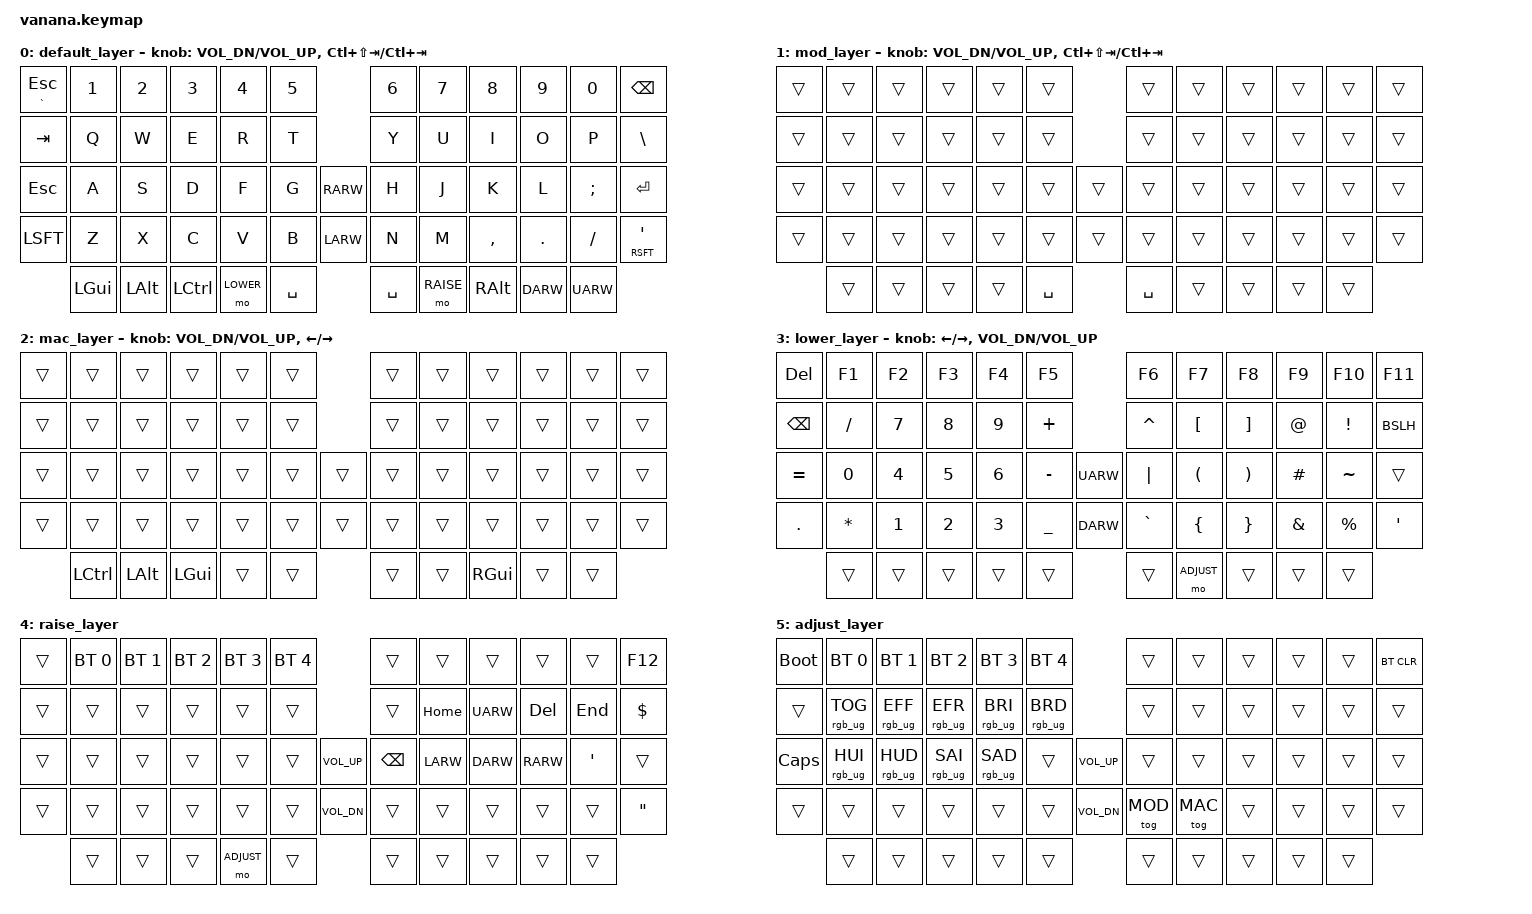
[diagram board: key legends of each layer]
/*
 * Copyright (c) 2020 dELLIKEEb
 *
 * SPDX-License-Identifier: MIT
 */

#include <behaviors.dtsi>
#include <dt-bindings/zmk/keys.h>
#include <dt-bindings/zmk/bt.h>
#include <dt-bindings/zmk/rgb.h>

// custom keycode defs for easier access
#define DEFAULT 0
#define MOD     1
#define MAC     2
#define LOWER   3
#define RAISE   4
#define ADJUST  5



// / {
//     behaviors {
//         hm: homerow_mods {
//             compatible = "zmk,behavior-hold-tap";
//             label = "homerow mods";
//             #binding-cells = <2>;
//             tapping_term_ms = <225>;
//             flavor = "tap-preferred";
//             bindings = <&kp>, <&kp>;
//         };
//     };
// };

// BASE
// -------------------------------------------               -------------------------------------------
// |   `  |   1  |   2  |   3  |   4  |   5  |               |   6  |   7  |   8  |   9  |   0  | Bksp |
// -------------------------------------------               -------------------------------------------
// | Tab  |   Q  |   W  |   E  |   R  |   T  |               |   Y  |   U  |   I  |   O  |   P  | Del  |
// -------------------------------------------   ---------  --------------------------------------------
// | Esc  |   A  |   S  |   D  |   F  |   G  |   | Right |   |   H  |   J  |   K  |   L  |   ;  |Enter |
// -------------------------------------------   ---------   -------------------------------------------
// | Shift|   Z  |   X  |   C  |   V  |   B  |   | LEFT  |   |   N  |   M  |   ,  |   .  |   /  | "    |
// -------------------------------------------   ---------   -------------------------------------------
//        | Ctrl | GUI  |  Alt |Lower |Space |               |Space |Raise |Alt   | DOWN | UP   |
//        ------------------------------------               ------------------------------------
// 

/ {
    keymap {
        compatible = "zmk,keymap";

        default_layer {
            bindings = <
                &mt GRAV ESC &kp N1      &kp N2      &kp N3      &kp N4    &kp N5                    &kp N6      &kp N7      &kp N8      &kp N9      &kp N0      &kp BKSP
                &kp TAB      &kp Q       &kp W       &kp E       &kp R     &kp T                     &kp Y       &kp U       &kp I       &kp O       &kp P       &kp BSLH
                &kp ESC      &kp A       &kp S       &kp D       &kp F     &kp G         &kp RARW    &kp H       &kp J       &kp K       &kp L       &kp SCLN    &kp RET
                &kp LSFT     &kp Z       &kp X       &kp C       &kp V     &kp B         &kp LARW    &kp N       &kp M       &kp CMMA    &kp DOT     &kp FSLH    &mt RSFT SQT
                             &kp LGUI    &kp LALT    &kp LCTL    &mo LOWER &kp SPC                   &kp SPC     &mo RAISE   &kp RALT    &kp DARW    &kp UARW
            >;
            sensor-bindings = <&inc_dec_kp C_VOL_DN C_VOL_UP &inc_dec_kp LC(LS(TAB)) LC(TAB)>;
        };

        mod_layer {
            bindings = <
                &trans      &trans      &trans      &trans      &trans      &trans                  &trans      &trans      &trans      &trans      &trans      &trans  
                &trans      &trans      &trans      &trans      &trans      &trans                  &trans      &trans      &trans      &trans      &trans      &trans
                &trans      &trans      &trans      &trans      &trans      &trans      &trans      &trans      &trans      &trans      &trans      &trans      &trans
                &trans      &trans      &trans      &trans      &trans      &trans      &trans      &trans      &trans      &trans      &trans      &trans      &trans 
                            &trans      &trans      &trans      &trans      &kp SPC                 &kp SPC     &trans      &trans      &trans      &trans
            >;
            sensor-bindings = <&inc_dec_kp C_VOL_DN C_VOL_UP &inc_dec_kp LC(LS(TAB)) LC(TAB)>;
        };

        mac_layer {
            bindings = <
                &trans      &trans      &trans      &trans      &trans      &trans                  &trans      &trans      &trans      &trans      &trans      &trans  
                &trans      &trans      &trans      &trans      &trans      &trans                  &trans      &trans      &trans      &trans      &trans      &trans
                &trans      &trans      &trans      &trans      &trans      &trans      &trans      &trans      &trans      &trans      &trans      &trans      &trans
                &trans      &trans      &trans      &trans      &trans      &trans      &trans      &trans      &trans      &trans      &trans      &trans      &trans 
                            &kp LCTL    &kp LALT    &kp LGUI    &trans      &trans                  &trans      &trans      &kp RGUI    &trans      &trans
            >;
            sensor-bindings = <&inc_dec_kp C_VOL_DN C_VOL_UP &inc_dec_kp LEFT RIGHT>;
        };

        lower_layer {
            bindings = <
                &kp DEL     &kp F1      &kp F2      &kp F3      &kp F4      &kp F5                  &kp F6      &kp F7      &kp F8      &kp F9      &kp F10     &kp F11  
                &kp BKSP    &kp FSLH    &kp NUM_7   &kp NUM_8   &kp NUM_9   &kp PLUS                &kp CARET   &kp LBKT    &kp RBKT    &kp AT      &kp EXCL    &BSLH
                &kp EQUAL   &kp NUM_0   &kp NUM_4   &kp NUM_5   &kp NUM_6   &kp MINUS   &kp UARW    &kp PIPE    &kp LPAR    &kp RPAR    &kp HASH    &kp TILDE   &trans
                &kp DOT     &kp STAR    &kp NUM_1   &kp NUM_2   &kp NUM_3   &kp UNDER   &kp DARW    &kp GRAV    &kp LBRC    &kp RBRC    &kp AMPS    &kp PRCNT   &kp SQT
                            &trans      &trans      &trans      &trans      &trans                  &trans      &mo ADJUST  &trans      &trans      &trans
            >;
            sensor-bindings = <&inc_dec_kp LEFT RIGHT &inc_dec_kp C_VOL_DN C_VOL_UP>;
        };

        raise_layer {
            bindings = <
                &trans      &bt BT_SEL 0    &bt BT_SEL 1    &bt BT_SEL 2    &bt BT_SEL 3    &bt BT_SEL 4                &trans      &trans      &trans      &trans      &trans      &kp F12  
                &trans      &trans     	    &trans          &trans          &trans          &trans                      &trans      &kp HOME    &kp UARW    &kp DEL     &kp END     &kp DOLLAR
                &trans      &trans     	    &trans          &trans          &trans          &trans      &kp C_VOL_UP    &kp BSPC    &kp LARW    &kp DARW    &kp RARW    &kp APOS    &trans 
                &trans      &trans     	    &trans          &trans          &trans          &trans      &kp C_VOL_DN    &trans      &trans      &trans      &trans      &trans      &kp DQT 
                            &trans     	    &trans          &trans          &mo ADJUST      &trans                      &trans      &trans      &trans      &trans      &trans
            >;
            
        };
        
        adjust_layer {
            bindings = <
                &bootloader &bt BT_SEL 0    &bt BT_SEL 1    &bt BT_SEL 2    &bt BT_SEL 3    &bt BT_SEL 4                    &trans      &trans      &trans      &trans      &trans      &bt BT_CLR        
                &trans      &rgb_ug RGB_TOG &rgb_ug RGB_EFF &rgb_ug RGB_EFR &rgb_ug RGB_BRI &rgb_ug RGB_BRD                 &trans      &trans      &trans      &trans      &trans      &trans
                &kp CAPS    &rgb_ug RGB_HUI &rgb_ug RGB_HUD &rgb_ug RGB_SAI &rgb_ug RGB_SAD &trans          &kp C_VOL_UP    &trans      &trans      &trans      &trans      &trans      &trans  
                &trans      &trans          &trans          &trans          &trans          &trans          &kp C_VOL_DN    &tog MOD    &tog MAC    &trans      &trans      &trans      &trans  
                            &trans          &trans          &trans          &trans          &trans                          &trans      &trans      &trans      &trans      &trans
            >;
        };

    };
};

